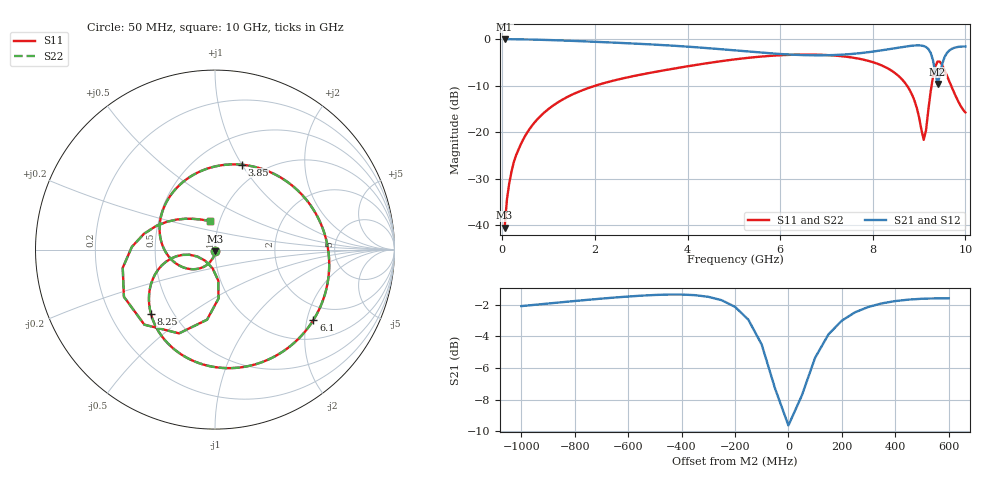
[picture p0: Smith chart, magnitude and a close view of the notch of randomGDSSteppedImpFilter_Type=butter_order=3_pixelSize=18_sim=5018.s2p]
! freq	dB(S11)	phase(S11)	dB(S12)	phase(S12)
!  dB(S21)	phase(S21)	dB(S22)	phase(S22)
!S-par simulation data
#  GHz  S  DB  R 50
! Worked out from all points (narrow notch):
!   200 points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, 50 MHz to 10 GHz, reference 50 ohm
!   highest |S21| = 0.00 dB at 50 MHz (marker M1); lowest = -9.6 dB at 9.4 GHz (marker M2)
!   notch at M2: 7.9 dB deep, 171 MHz wide at half that depth
!   lowest |S11| = -40.5 dB at 50 MHz (marker M3), VSWR 1.02, Z = 50 - j0.941 ohm
!   |S11| at or under -10 dB: start of sweep to 2.014 GHz; 8.738 GHz to 9.27 GHz (531.7 MHz wide, 5.91 % of centre); 9.691 GHz to end of sweep
!   |S22| runs from -40.5 to -3.3 dB; largest |S21 - S12| = 0
!   S11 on the Smith chart (normalised r, x): 50 MHz: 1.00, -0.02; 3.85 GHz: 0.79, +1.00; 6.1 GHz: 1.53, -2.19; 8.25 GHz: 0.38, -0.36; 10 GHz: 0.90, +0.30
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0.05  -40.51 -92.2  -0.00 -2.7  -0.00 -2.7  -40.51 -92.2
0.1  -34.49 -95.0  -0.01 -5.3  -0.01 -5.3  -34.49 -95.0
0.2  -28.42 -100.1  -0.02 -10.5  -0.02 -10.5  -28.41 -100.2
0.5  -20.70 -116.7  -0.07 -26.1  -0.07 -26.1  -20.70 -116.7
1.15  -13.92 -150.3  -0.25 -59.6  -0.25 -59.6  -13.92 -150.4
1.75  -10.91 179.0  -0.48 -90.2  -0.48 -90.2  -10.91 179.0
2.65  -8.34 133.5  -0.87 -135.7  -0.87 -135.7  -8.34 133.4
3.4  -6.87 95.4  -1.25 -173.7  -1.25 -173.7  -6.87 95.4
3.85  -6.10 72.7  -1.52 163.5  -1.52 163.5  -6.10 72.6
5.05  -4.32 13.3  -2.46 103.5  -2.46 103.5  -4.32 13.3
6.1  -3.43 -35.6  -3.27 53.8  -3.27 53.8  -3.42 -35.6
6.7  -3.33 -62.2  -3.49 26.5  -3.49 26.5  -3.33 -62.2
7.45  -3.82 -95.6  -3.27 -8.0  -3.27 -8.0  -3.82 -95.6
8.25  -5.92 -134.9  -2.33 -49.3  -2.33 -49.3  -5.92 -134.9
8.35  -6.45 -140.4  -2.17 -55.2  -2.17 -55.2  -6.45 -140.4
8.85  -11.98 -168.4  -1.43 -89.8  -1.43 -89.8  -11.98 -168.4
9.1  -21.64 -131.9  -1.50 -114.3  -1.50 -114.3  -21.61 -131.8
9.25  -11.27 -85.9  -2.94 -136.0  -2.94 -136.0  -11.26 -85.9
9.4  -4.82 -133.3  -9.63 -124.5  -9.63 -124.5  -4.81 -133.2
9.5  -5.62 -168.9  -5.35 -102.9  -5.35 -102.9  -5.61 -168.8
9.6  -7.86 167.3  -3.00 -114.2  -3.00 -114.2  -7.85 167.4
10  -15.76 100.2  -1.60 -157.7  -1.60 -157.7  -15.77 100.7
